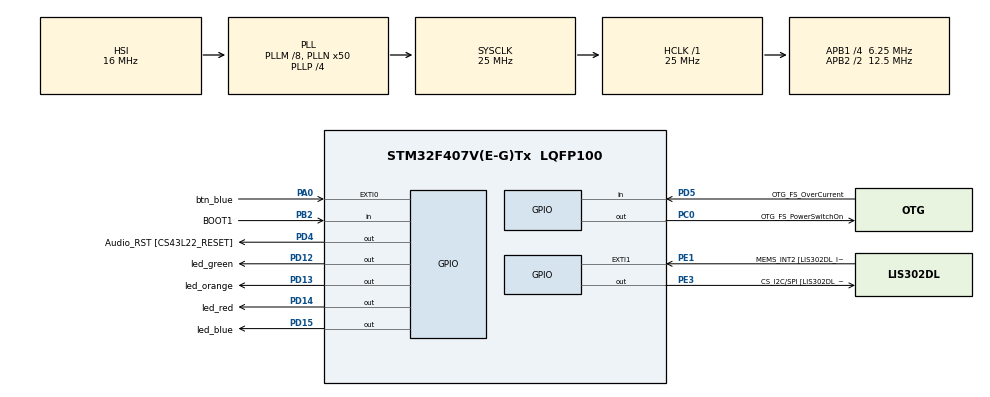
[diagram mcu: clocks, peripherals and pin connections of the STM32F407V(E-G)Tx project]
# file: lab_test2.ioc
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Mcu.Family=STM32F4
Mcu.Name=STM32F407V(E-G)Tx
Mcu.Package=LQFP100
NVIC.PriorityGroup=NVIC_PRIORITYGROUP_4
NVIC.TIM7_IRQn=true\:0\:0\:false\:false\:true\:false\:true\:true
NVIC.TimeBase=TIM7_IRQn
NVIC.TimeBaseIP=TIM7
PA0-WKUP.GPIO_Label=btn_blue
PA0-WKUP.Signal=GPXTI0
PA10.GPIO_Label=OTG_FS_ID
PA10.GPIO_Mode=GPIO_MODE_AF_PP
PA10.GPIO_PuPd=GPIO_NOPULL
PA10.GPIO_Speed=GPIO_SPEED_FREQ_LOW
PA10.Signal=USB_OTG_FS_ID
PA11.GPIO_Label=OTG_FS_DM
PA11.GPIO_Mode=GPIO_MODE_AF_PP
PA11.GPIO_PuPd=GPIO_NOPULL
PA11.GPIO_Speed=GPIO_SPEED_FREQ_LOW
PA11.Signal=USB_OTG_FS_DM
PA12.GPIO_Label=OTG_FS_DP
PA12.GPIO_Mode=GPIO_MODE_AF_PP
PA12.GPIO_PuPd=GPIO_NOPULL
PA12.GPIO_Speed=GPIO_SPEED_FREQ_LOW
PA12.Signal=USB_OTG_FS_DP
PA13.GPIO_Label=SWDIO
PA13.Mode=Serial_Wire
PA13.Signal=SYS_JTMS-SWDIO
PA14.GPIO_Label=SWCLK
PA14.Mode=Serial_Wire
PA14.Signal=SYS_JTCK-SWCLK
PA4.GPIO_Label=I2S3_WS [CS43L22_LRCK]
PA4.GPIO_Mode=GPIO_MODE_AF_PP
PA4.GPIO_PuPd=GPIO_NOPULL
PA4.GPIO_Speed=GPIO_SPEED_FREQ_LOW
PA4.Signal=I2S3_WS
PA5.GPIO_Label=SPI1_SCK [LIS302DL_SCL/SPC]
PA5.GPIO_Mode=GPIO_MODE_AF_PP
PA5.GPIO_PuPd=GPIO_NOPULL
PA5.GPIO_Speed=GPIO_SPEED_FREQ_LOW
PA5.Signal=SPI1_SCK
PA6.GPIO_Label=SPI1_MISO [LIS302DL_SDO]
PA6.GPIO_Mode=GPIO_MODE_AF_PP
PA6.GPIO_PuPd=GPIO_NOPULL
PA6.GPIO_Speed=GPIO_SPEED_FREQ_LOW
PA6.Signal=SPI1_MISO
PA7.GPIO_Label=SPI1_MOSI [LIS302DL_SDA/SDI/SDO]
PA7.GPIO_Mode=GPIO_MODE_AF_PP
PA7.GPIO_PuPd=GPIO_NOPULL
PA7.GPIO_Speed=GPIO_SPEED_FREQ_LOW
PA7.Signal=SPI1_MOSI
PA9.GPIO_Label=VBUS_FS
PA9.GPIO_Mode=GPIO_MODE_INPUT
PA9.GPIO_PuPd=GPIO_NOPULL
PA9.Signal=USB_OTG_FS_VBUS
PB10.GPIO_Label=CLK_IN [MP45DT02_CLK]
PB10.GPIO_Mode=GPIO_MODE_AF_PP
PB10.GPIO_PuPd=GPIO_NOPULL
PB10.GPIO_Speed=GPIO_SPEED_FREQ_LOW
PB10.Signal=I2S2_CK
PB2.GPIO_Label=BOOT1
PB2.GPIO_Mode=GPIO_MODE_INPUT
PB2.GPIO_PuPd=GPIO_NOPULL
PB2.Signal=GPIO_Input
PB3.GPIO_Label=SWO
PB3.Signal=SYS_JTDO-SWO
PB6.GPIO_Label=Audio_SCL [CS43L22_SCL]
PB6.GPIO_Mode=GPIO_MODE_AF_OD
PB6.GPIO_PuPd=GPIO_NOPULL
PB6.GPIO_Speed=GPIO_SPEED_FREQ_LOW
PB6.Signal=I2C1_SCL
PB9.GPIO_Label=Audio_SDA [CS43L22_SDA]
PB9.GPIO_Mode=GPIO_MODE_AF_OD
PB9.GPIO_PuPd=GPIO_NOPULL
PB9.GPIO_Speed=GPIO_SPEED_FREQ_LOW
PB9.Signal=I2C1_SDA
PC0.GPIO_Label=OTG_FS_PowerSwitchOn
PC0.GPIO_PuPd=GPIO_NOPULL
PC0.GPIO_Speed=GPIO_SPEED_FREQ_LOW
PC0.PinState=GPIO_PIN_SET
PC0.Signal=GPIO_Output
PC10.GPIO_Label=I2S3_SCK [CS43L22_SCLK]
PC10.GPIO_Mode=GPIO_MODE_AF_PP
PC10.GPIO_PuPd=GPIO_NOPULL
PC10.GPIO_Speed=GPIO_SPEED_FREQ_LOW
PC10.Signal=I2S3_CK
PC12.GPIO_Label=I2S3_SD [CS43L22_SDIN]
PC12.GPIO_Mode=GPIO_MODE_AF_PP
PC12.GPIO_PuPd=GPIO_NOPULL
PC12.GPIO_Speed=GPIO_SPEED_FREQ_LOW
PC12.Signal=I2S3_SD
PC14-OSC32_IN.GPIO_Label=PC14-OSC32_IN
PC14-OSC32_IN.Signal=RCC_OSC32_IN
PC15-OSC32_OUT.GPIO_Label=PC15-OSC32_OUT
PC15-OSC32_OUT.Signal=RCC_OSC32_OUT
PC3.GPIO_Label=PDM_OUT [MP45DT02_DOUT]
PC3.GPIO_Mode=GPIO_MODE_AF_PP
PC3.GPIO_PuPd=GPIO_NOPULL
PC3.GPIO_Speed=GPIO_SPEED_FREQ_LOW
PC3.Signal=I2S2_SD
PC7.GPIO_Label=I2S3_MCK [CS43L22_MCLK]
PC7.GPIO_Mode=GPIO_MODE_AF_PP
PC7.GPIO_PuPd=GPIO_NOPULL
PC7.GPIO_Speed=GPIO_SPEED_FREQ_LOW
PC7.Signal=I2S3_MCK
PD12.GPIO_Label=led_green
PD12.GPIO_PuPd=GPIO_NOPULL
PD12.GPIO_Speed=GPIO_SPEED_FREQ_LOW
PD12.Signal=GPIO_Output
PD13.GPIO_Label=led_orange
PD13.GPIO_PuPd=GPIO_NOPULL
PD13.GPIO_Speed=GPIO_SPEED_FREQ_LOW
PD13.Signal=GPIO_Output
PD14.GPIO_Label=led_red
PD14.GPIO_PuPd=GPIO_NOPULL
PD14.GPIO_Speed=GPIO_SPEED_FREQ_LOW
PD14.Signal=GPIO_Output
PD15.GPIO_Label=led_blue
PD15.GPIO_PuPd=GPIO_NOPULL
PD15.GPIO_Speed=GPIO_SPEED_FREQ_LOW
PD15.Signal=GPIO_Output
PD4.GPIO_Label=Audio_RST [CS43L22_RESET]
PD4.GPIO_PuPd=GPIO_NOPULL
PD4.GPIO_Speed=GPIO_SPEED_FREQ_LOW
PD4.Signal=GPIO_Output
PD5.GPIO_Label=OTG_FS_OverCurrent
PD5.GPIO_Mode=GPIO_MODE_INPUT
PD5.GPIO_PuPd=GPIO_NOPULL
PD5.Signal=GPIO_Input
PE1.GPIO_Label=MEMS_INT2 [LIS302DL_INT2]
PE1.GPIO_ModeDefaultEXTI=GPIO_MODE_EVT_RISING
PE1.GPIO_PuPd=GPIO_NOPULL
PE1.Signal=GPXTI1
PE3.GPIO_Label=CS_I2C/SPI [LIS302DL_CS_I2C/SPI]
PE3.GPIO_PuPd=GPIO_NOPULL
PE3.GPIO_Speed=GPIO_SPEED_FREQ_LOW
PE3.Signal=GPIO_Output
PH0-OSC_IN.GPIO_Label=PH0-OSC_IN
PH0-OSC_IN.Signal=RCC_OSC_IN
PH1-OSC_OUT.GPIO_Label=PH1-OSC_OUT
PH1-OSC_OUT.Signal=RCC_OSC_OUT
ProjectManager.HeapSize=0x200
ProjectManager.StackSize=0x400
ProjectManager.TargetToolchain=STM32CubeIDE
RCC.48MHZClocksFreq_Value=14285714.285714285
RCC.AHBFreq_Value=25000000
RCC.APB1CLKDivider=RCC_HCLK_DIV4
RCC.APB1Freq_Value=6250000
RCC.APB1TimFreq_Value=12500000
RCC.APB2CLKDivider=RCC_HCLK_DIV2
RCC.APB2Freq_Value=12500000
RCC.APB2TimFreq_Value=25000000
RCC.CortexFreq_Value=25000000
RCC.HCLKFreq_Value=25000000
RCC.HSE_VALUE=8000000
RCC.HSI_VALUE=16000000
RCC.LSE_VALUE=32768
RCC.PLLM=8
RCC.PLLN=50
RCC.PLLP=RCC_PLLP_DIV4
RCC.PLLQ=7
RCC.SYSCLKFreq_VALUE=25000000
RCC.SYSCLKSource=RCC_SYSCLKSOURCE_PLLCLK
RCC.VCOOutputFreq_Value=100000000
VP_SYS_VS_tim7.Mode=TIM7
board=STM32F407G-DISC1

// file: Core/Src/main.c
/* USER CODE BEGIN Header */
/**
  ******************************************************************************
  * @file           : main.c
  * @brief          : Main program body
  ******************************************************************************
  * @attention
  *
  * Copyright (c) 2022 STMicroelectronics.
  * All rights reserved.
  *
  * This software is licensed under terms that can be found in the LICENSE file
  * in the root directory of this software component.
  * If no LICENSE file comes with this software, it is provided AS-IS.
  *
  ******************************************************************************
  */
/* USER CODE END Header */
#include "main.h"

/* USER CODE BEGIN Includes */
#include"FreeRTOS.h"
#include"task.h"
#include"queue.h"

/* USER CODE END Includes */

void SystemClock_Config(void);
static void MX_GPIO_Init(void);

/* USER CODE BEGIN 0 */
BaseType_t xReturned;
TaskHandle_t xHandle=NULL;

QueueHandle_t que1;
void button( void ){
	int state = 0;
	for(;;){
		if(HAL_GPIO_ReadPin(btn_blue_GPIO_Port, GPIO_PIN_0))
		{
			int a =1;
			xQueueSend(que1,&a,0);
			vTaskDelay(200);
		}
	}
}

void LED_Task( void ){
	HAL_GPIO_WritePin(GPIOD, GPIO_PIN_12 | GPIO_PIN_13 | GPIO_PIN_14 | GPIO_PIN_15, GPIO_PIN_RESET);
	int state = 0;
	int A;
	for(;;){
		if(xQueueReceive(que1,&A,10)==pdPASS)
		{
			state = state+A;
		}

		if(state%2==0)
		{
			HAL_GPIO_WritePin(led_green_GPIO_Port, GPIO_PIN_12, GPIO_PIN_SET );
			vTaskDelay(2000);
			HAL_GPIO_WritePin(led_green_GPIO_Port, GPIO_PIN_12, GPIO_PIN_RESET );
			//vTaskDelay(2000);
			HAL_GPIO_WritePin(led_red_GPIO_Port, GPIO_PIN_14, GPIO_PIN_SET );
			vTaskDelay(2000);
			HAL_GPIO_WritePin(led_red_GPIO_Port, GPIO_PIN_14, GPIO_PIN_RESET );
			//vTaskDelay(2000);
		}
		else if(state%2==1)
		{
			HAL_GPIO_WritePin(led_orange_GPIO_Port, GPIO_PIN_13, GPIO_PIN_SET );
			vTaskDelay(1000);
			HAL_GPIO_WritePin(led_orange_GPIO_Port, GPIO_PIN_13, GPIO_PIN_RESET );
			vTaskDelay(1000);
		}
	}
}
/* USER CODE END 0 */

int main(void)
{
  /* USER CODE BEGIN 1 */
  que1 = xQueueCreate(10,sizeof(int));

  /* USER CODE END 1 */

  /* MCU Configuration--------------------------------------------------------*/

  /* Reset of all peripherals, Initializes the Flash interface and the Systick. */
  HAL_Init();

  /* Configure the system clock */
  SystemClock_Config();

  /* Initialize all configured peripherals */
  MX_GPIO_Init();
  /* USER CODE BEGIN 2 */
  xTaskCreate(
		  LED_Task,
		  "LEDTask_App",
		  128,
		  NULL,
		  1,
		  &xHandle);
  xTaskCreate(
		  button,
		  "button",
		  128,
		  NULL,
		  1,
		  &xHandle);

  vTaskStartScheduler();
  /* USER CODE END 2 */

  /* Infinite loop */
  while (1)
  {

  }
}

void LEDTask_App(void *pvParameters)
{

	for(;;)
	{
		if (HAL_GPIO_ReadPin (btn_blue_Pin, GPIO_PIN_0)){
			HAL_GPIO_WritePin (led_green_Pin, GPIO_PIN_12, GPIO_PIN_SET);
			vTaskDelay(1000);
			HAL_GPIO_WritePin (led_green_Pin, GPIO_PIN_12, GPIO_PIN_RESET);
			vTaskDelay(1000);
		}else{
			HAL_GPIO_WritePin (led_red_Pin, GPIO_PIN_14, GPIO_PIN_SET);
			vTaskDelay(1000);
			HAL_GPIO_WritePin (led_red_Pin, GPIO_PIN_14, GPIO_PIN_RESET);
			vTaskDelay(1000);
		}
	}
}
void SystemClock_Config(void)
{
  RCC_OscInitTypeDef RCC_OscInitStruct = {0};
  RCC_ClkInitTypeDef RCC_ClkInitStruct = {0};

  /** Configure the main internal regulator output voltage
  */
  __HAL_RCC_PWR_CLK_ENABLE();
  __HAL_PWR_VOLTAGESCALING_CONFIG(PWR_REGULATOR_VOLTAGE_SCALE1);

  /** Initializes the RCC Oscillators according to the specified parameters
  * in the RCC_OscInitTypeDef structure.
  */
  RCC_OscInitStruct.OscillatorType = RCC_OSCILLATORTYPE_HSI;
  RCC_OscInitStruct.HSIState = RCC_HSI_ON;
  RCC_OscInitStruct.HSICalibrationValue = RCC_HSICALIBRATION_DEFAULT;
  RCC_OscInitStruct.PLL.PLLState = RCC_PLL_ON;
  RCC_OscInitStruct.PLL.PLLSource = RCC_PLLSOURCE_HSI;
  RCC_OscInitStruct.PLL.PLLM = 8;
  RCC_OscInitStruct.PLL.PLLN = 50;
  RCC_OscInitStruct.PLL.PLLP = RCC_PLLP_DIV4;
  RCC_OscInitStruct.PLL.PLLQ = 7;
  if (HAL_RCC_OscConfig(&RCC_OscInitStruct) != HAL_OK)
  {
    Error_Handler();
  }

  /** Initializes the CPU, AHB and APB buses clocks
  */
  RCC_ClkInitStruct.ClockType = RCC_CLOCKTYPE_HCLK|RCC_CLOCKTYPE_SYSCLK
                              |RCC_CLOCKTYPE_PCLK1|RCC_CLOCKTYPE_PCLK2;
  RCC_ClkInitStruct.SYSCLKSource = RCC_SYSCLKSOURCE_PLLCLK;
  RCC_ClkInitStruct.AHBCLKDivider = RCC_SYSCLK_DIV1;
  RCC_ClkInitStruct.APB1CLKDivider = RCC_HCLK_DIV4;
  RCC_ClkInitStruct.APB2CLKDivider = RCC_HCLK_DIV2;

  if (HAL_RCC_ClockConfig(&RCC_ClkInitStruct, FLASH_LATENCY_0) != HAL_OK)
  {
    Error_Handler();
  }
}

static void MX_GPIO_Init(void)
{
  GPIO_InitTypeDef GPIO_InitStruct = {0};

  /* GPIO Ports Clock Enable */
  __HAL_RCC_GPIOE_CLK_ENABLE();
  __HAL_RCC_GPIOC_CLK_ENABLE();
  __HAL_RCC_GPIOH_CLK_ENABLE();
  __HAL_RCC_GPIOA_CLK_ENABLE();
  __HAL_RCC_GPIOB_CLK_ENABLE();
  __HAL_RCC_GPIOD_CLK_ENABLE();

  /*Configure GPIO pin Output Level */
  HAL_GPIO_WritePin(CS_I2C_SPI_GPIO_Port, CS_I2C_SPI_Pin, GPIO_PIN_RESET);
  HAL_GPIO_ReadPin(btn_blue_GPIO_Port,btn_blue_Pin);
  /*Configure GPIO pin Output Level */
  HAL_GPIO_WritePin(OTG_FS_PowerSwitchOn_GPIO_Port, OTG_FS_PowerSwitchOn_Pin, GPIO_PIN_SET);

  /*Configure GPIO pin Output Level */
  HAL_GPIO_WritePin(GPIOD, led_green_Pin|led_orange_Pin|led_red_Pin|led_blue_Pin
                          |Audio_RST_Pin, GPIO_PIN_RESET);

  /*Configure GPIO pin : CS_I2C_SPI_Pin */
  GPIO_InitStruct.Pin = CS_I2C_SPI_Pin;
  GPIO_InitStruct.Mode = GPIO_MODE_OUTPUT_PP;
  GPIO_InitStruct.Pull = GPIO_NOPULL;
  GPIO_InitStruct.Speed = GPIO_SPEED_FREQ_LOW;
  HAL_GPIO_Init(CS_I2C_SPI_GPIO_Port, &GPIO_InitStruct);

  /*Configure GPIO pin : OTG_FS_PowerSwitchOn_Pin */
  GPIO_InitStruct.Pin = OTG_FS_PowerSwitchOn_Pin;
  GPIO_InitStruct.Mode = GPIO_MODE_OUTPUT_PP;
  GPIO_InitStruct.Pull = GPIO_NOPULL;
  GPIO_InitStruct.Speed = GPIO_SPEED_FREQ_LOW;
  HAL_GPIO_Init(OTG_FS_PowerSwitchOn_GPIO_Port, &GPIO_InitStruct);

  /*Configure GPIO pin : PDM_OUT_Pin */
  GPIO_InitStruct.Pin = PDM_OUT_Pin;
  GPIO_InitStruct.Mode = GPIO_MODE_AF_PP;
  GPIO_InitStruct.Pull = GPIO_NOPULL;
  GPIO_InitStruct.Speed = GPIO_SPEED_FREQ_LOW;
  GPIO_InitStruct.Alternate = GPIO_AF5_SPI2;
  HAL_GPIO_Init(PDM_OUT_GPIO_Port, &GPIO_InitStruct);

  /*Configure GPIO pin : btn_blue_Pin */
  GPIO_InitStruct.Pin = btn_blue_Pin;
  GPIO_InitStruct.Mode = GPIO_MODE_IT_RISING;
  GPIO_InitStruct.Pull = GPIO_NOPULL;
  HAL_GPIO_Init(btn_blue_GPIO_Port, &GPIO_InitStruct);

  /*Configure GPIO pin : I2S3_WS_Pin */
  GPIO_InitStruct.Pin = I2S3_WS_Pin;
  GPIO_InitStruct.Mode = GPIO_MODE_AF_PP;
  GPIO_InitStruct.Pull = GPIO_NOPULL;
  GPIO_InitStruct.Speed = GPIO_SPEED_FREQ_LOW;
  GPIO_InitStruct.Alternate = GPIO_AF6_SPI3;
  HAL_GPIO_Init(I2S3_WS_GPIO_Port, &GPIO_InitStruct);

  /*Configure GPIO pins : SPI1_SCK_Pin SPI1_MISO_Pin SPI1_MOSI_Pin */
  GPIO_InitStruct.Pin = SPI1_SCK_Pin|SPI1_MISO_Pin|SPI1_MOSI_Pin;
  GPIO_InitStruct.Mode = GPIO_MODE_AF_PP;
  GPIO_InitStruct.Pull = GPIO_NOPULL;
  GPIO_InitStruct.Speed = GPIO_SPEED_FREQ_LOW;
  GPIO_InitStruct.Alternate = GPIO_AF5_SPI1;
  HAL_GPIO_Init(GPIOA, &GPIO_InitStruct);

  /*Configure GPIO pin : BOOT1_Pin */
  GPIO_InitStruct.Pin = BOOT1_Pin;
  GPIO_InitStruct.Mode = GPIO_MODE_INPUT;
  GPIO_InitStruct.Pull = GPIO_NOPULL;
  HAL_GPIO_Init(BOOT1_GPIO_Port, &GPIO_InitStruct);

  /*Configure GPIO pin : CLK_IN_Pin */
  GPIO_InitStruct.Pin = CLK_IN_Pin;
  GPIO_InitStruct.Mode = GPIO_MODE_AF_PP;
  GPIO_InitStruct.Pull = GPIO_NOPULL;
  GPIO_InitStruct.Speed = GPIO_SPEED_FREQ_LOW;
  GPIO_InitStruct.Alternate = GPIO_AF5_SPI2;
  HAL_GPIO_Init(CLK_IN_GPIO_Port, &GPIO_InitStruct);

  /*Configure GPIO pins : led_green_Pin led_orange_Pin led_red_Pin led_blue_Pin
                           Audio_RST_Pin */
  GPIO_InitStruct.Pin = led_green_Pin|led_orange_Pin|led_red_Pin|led_blue_Pin
                          |Audio_RST_Pin;
  GPIO_InitStruct.Mode = GPIO_MODE_OUTPUT_PP;
  GPIO_InitStruct.Pull = GPIO_NOPULL;
  GPIO_InitStruct.Speed = GPIO_SPEED_FREQ_LOW;
  HAL_GPIO_Init(GPIOD, &GPIO_InitStruct);

  /*Configure GPIO pins : I2S3_MCK_Pin I2S3_SCK_Pin I2S3_SD_Pin */
  GPIO_InitStruct.Pin = I2S3_MCK_Pin|I2S3_SCK_Pin|I2S3_SD_Pin;
  GPIO_InitStruct.Mode = GPIO_MODE_AF_PP;
  GPIO_InitStruct.Pull = GPIO_NOPULL;
  GPIO_InitStruct.Speed = GPIO_SPEED_FREQ_LOW;
  GPIO_InitStruct.Alternate = GPIO_AF6_SPI3;
  HAL_GPIO_Init(GPIOC, &GPIO_InitStruct);

  /*Configure GPIO pin : VBUS_FS_Pin */
  GPIO_InitStruct.Pin = VBUS_FS_Pin;
  GPIO_InitStruct.Mode = GPIO_MODE_INPUT;
  GPIO_InitStruct.Pull = GPIO_NOPULL;
  HAL_GPIO_Init(VBUS_FS_GPIO_Port, &GPIO_InitStruct);

  /*Configure GPIO pins : OTG_FS_ID_Pin OTG_FS_DM_Pin OTG_FS_DP_Pin */
  GPIO_InitStruct.Pin = OTG_FS_ID_Pin|OTG_FS_DM_Pin|OTG_FS_DP_Pin;
  GPIO_InitStruct.Mode = GPIO_MODE_AF_PP;
  GPIO_InitStruct.Pull = GPIO_NOPULL;
  GPIO_InitStruct.Speed = GPIO_SPEED_FREQ_LOW;
  GPIO_InitStruct.Alternate = GPIO_AF10_OTG_FS;
  HAL_GPIO_Init(GPIOA, &GPIO_InitStruct);

  /*Configure GPIO pin : OTG_FS_OverCurrent_Pin */
  GPIO_InitStruct.Pin = OTG_FS_OverCurrent_Pin;
  GPIO_InitStruct.Mode = GPIO_MODE_INPUT;
  GPIO_InitStruct.Pull = GPIO_NOPULL;
  HAL_GPIO_Init(OTG_FS_OverCurrent_GPIO_Port, &GPIO_InitStruct);

  /*Configure GPIO pins : Audio_SCL_Pin Audio_SDA_Pin */
  GPIO_InitStruct.Pin = Audio_SCL_Pin|Audio_SDA_Pin;
  GPIO_InitStruct.Mode = GPIO_MODE_AF_OD;
  GPIO_InitStruct.Pull = GPIO_NOPULL;
  GPIO_InitStruct.Speed = GPIO_SPEED_FREQ_LOW;
  GPIO_InitStruct.Alternate = GPIO_AF4_I2C1;
  HAL_GPIO_Init(GPIOB, &GPIO_InitStruct);

  /*Configure GPIO pin : MEMS_INT2_Pin */
  GPIO_InitStruct.Pin = MEMS_INT2_Pin;
  GPIO_InitStruct.Mode = GPIO_MODE_EVT_RISING;
  GPIO_InitStruct.Pull = GPIO_NOPULL;
  HAL_GPIO_Init(MEMS_INT2_GPIO_Port, &GPIO_InitStruct);

}

void HAL_TIM_PeriodElapsedCallback(TIM_HandleTypeDef *htim)
{
  if (htim->Instance == TIM7) {
    HAL_IncTick();
  }
}

void Error_Handler(void)
{
  __disable_irq();
  while (1)
  {
  }
}
